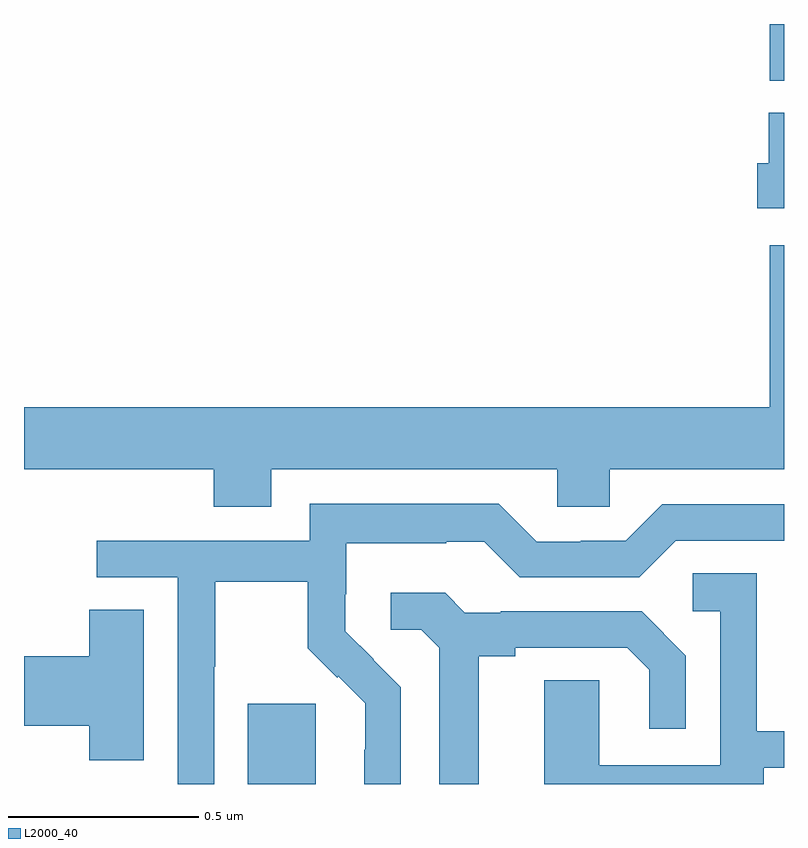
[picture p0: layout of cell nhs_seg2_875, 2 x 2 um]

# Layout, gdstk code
import gdstk
lib = gdstk.Library(unit=1e-6, precision=1e-09)
def R(c, l, rs):  # rectangles x0, y0, x1, y1
    for r in rs: c.add(gdstk.rectangle(r[:2], r[2:], *l))
def P(c, l, *ps):  # polygons
    for p in ps: c.add(gdstk.Polygon(p, *l))
L2000_40 = (2000, 40)

nhs_seg2_875 = lib.new_cell('nhs_seg2_875')
R(nhs_seg2_875, L2000_40, [(121.589,654.8,121.768,655.011), (122.963,656.651,123,656.8)])
P(nhs_seg2_875, L2000_40, [(123,656.566),(122.96,656.566),(122.96,656.433),(122.93,656.433),(122.93,656.315),(123,656.315)],
  [(121.651,655.628),(122.403,655.628),(122.403,655.53),(122.541,655.53),(122.541,655.628),(123,655.628),(123,656.218),(122.963,656.218),(122.963,655.792),(121,655.792),(121,655.628),(121.499,655.628),(121.499,655.529),(121.651,655.529)],
  [(121.5,655.108),(121.503,655.108),(121.503,655.332),(121.747,655.332),(121.747,655.157),(121.824,655.08),(121.827,655.083),(121.898,655.013),(121.898,654.89),(121.896,654.89),(121.896,654.8),(121.992,654.8),(121.992,655.054),(121.919,655.127),(121.92,655.128),(121.846,655.202),(121.846,655.299),(121.848,655.299),(121.848,655.433),(122.111,655.433),(122.111,655.437),(122.211,655.437),(122.304,655.344),(122.619,655.344),(122.715,655.44),(123,655.44),(123,655.536),(122.679,655.536),(122.583,655.44),(122.465,655.44),(122.465,655.437),(122.349,655.437),(122.249,655.537),(121.752,655.537),(121.752,655.44),(121.191,655.44),(121.191,655.344),(121.404,655.344),(121.404,654.8),(121.5,654.8)],
  [(122.947,654.843),(123,654.843),(123,654.939),(122.928,654.939),(122.928,655.355),(122.76,655.355),(122.76,655.254),(122.832,655.254),(122.832,654.849),(122.514,654.849),(122.514,655.073),(122.369,655.073),(122.369,654.8),(122.947,654.8)],
  [(122.197,655.136),(122.293,655.136),(122.293,655.158),(122.588,655.158),(122.645,655.101),(122.645,654.945),(122.742,654.945),(122.742,655.138),(122.626,655.254),(122.254,655.254),(122.254,655.251),(122.16,655.251),(122.108,655.303),(121.965,655.303),(121.965,655.206),(122.046,655.206),(122.093,655.159),(122.093,654.8),(122.197,654.8)],
  [(121.315,655.259),(121.172,655.259),(121.172,655.136),(121,655.136),(121,654.953),(121.172,654.953),(121.172,654.862),(121.315,654.862)])

lib.write_gds('nhs_seg2_875.gds')
